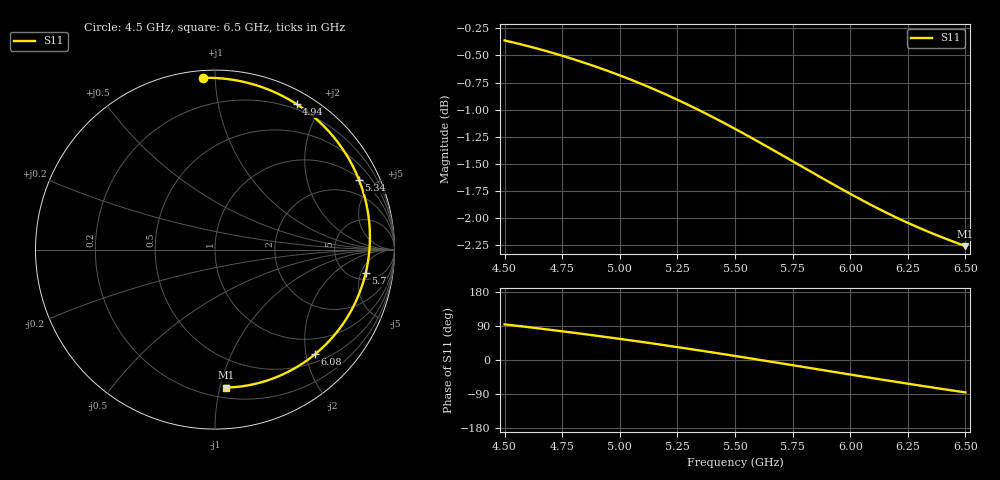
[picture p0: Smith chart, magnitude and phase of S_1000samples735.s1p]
! TOUCHSTONE file generated by CST MICROWAVE STUDIO
! Date and time: Sat Oct 29 05:11:43 2022
! Project name: L.cst
! Parameters = {Di=1.27; Epsilon_r=1.56; InnerDiameter=1.27; Length=2; Lf=10; Lg=60; OuterConductorThickness=0.2921; OuterDiameter=3.6; Wf=3; Wp=41.2; de=1.5; df=6.8; g=0.8; gx=1.79792; gy=4.23725; h=2.34; hf=1.524; px=8.23923; py=12.0112; w=9.7; wx=6.44131; wy=7.77399}
! Header version: 2018
! Port assignment regex: !\s*Touchstone port\s*([0-9]+)\s*=\s*(CST MWS port|CST DS port)\s*([0-9]+|Zmin|Zmax)\s*\(\"(.*)\"\)(\s*mode\s*([0-9]+))?.*
! Touchstone port assignment:
! Touchstone port 1 = CST MWS port 1 ("")
# GHz S DB R 50
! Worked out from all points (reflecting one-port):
!   101 points, 4.5 GHz to 6.5 GHz, reference 50 ohm
!   lowest |S11| = -2.3 dB at 6.5 GHz (marker M1), VSWR 7.73, Z = 13.7 - j52.1 ohm
!   phase of S11 starts at 94 deg and turns -180 deg over the sweep
!   S11 on the Smith chart (normalised r, x): 4.5 GHz: 0.04, +0.93; 4.94 GHz: 0.14, +1.70; 5.34 GHz: 1.09, +4.10; 5.7 GHz: 6.54, -6.11; 6.08 GHz: 0.65, -2.18; 6.5 GHz: 0.27, -1.04
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4.5  -0.36 94.0
4.58  -0.40 88.3
4.64  -0.44 84.0
4.76  -0.51 74.9
4.86  -0.58 67.1
4.94  -0.64 60.7
5  -0.68 55.7
5.06  -0.73 50.7
5.12  -0.79 45.5
5.2  -0.86 38.5
5.26  -0.92 33.1
5.34  -1.00 25.8
5.42  -1.09 18.3
5.5  -1.18 10.7
5.6  -1.29 1.0
5.7  -1.41 -8.8
5.76  -1.49 -14.7
5.82  -1.56 -20.6
5.88  -1.63 -26.6
5.94  -1.70 -32.5
6  -1.78 -38.4
6.08  -1.87 -46.2
6.18  -1.97 -55.8
6.26  -2.05 -63.4
6.32  -2.11 -69.1
6.38  -2.16 -74.6
6.44  -2.21 -80.1
6.5  -2.26 -85.6
